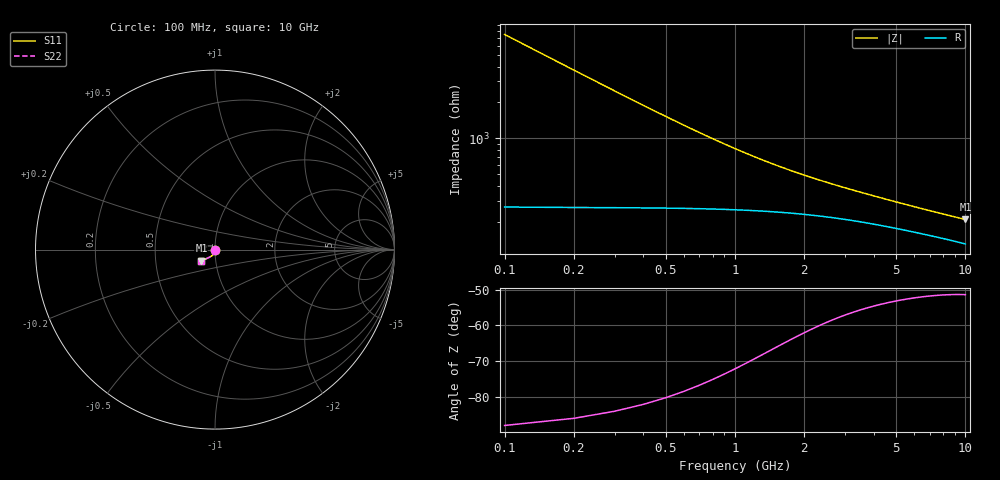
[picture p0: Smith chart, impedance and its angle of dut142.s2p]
! Touchstone file exported from HFSS 2024.1.0
!  File:  C:/UserFiles/LocalFiles/RDL_TSV_Batchsim/temp_TSV1_142_1778754721.aedt
!  Generated:  06:35:43 PM May 14, 2026
!  Design:  TSV1
!  Project:  temp_TSV1_142_1778754721
!  Setup:  Setup1
!  Solution:  Sweep
! Variables:
!  dtsv = 25.77um
!  hbump = 3um
!  htsv = 68.57um
!  lrdl = 252.1521522um
!  p = 40
!  p1 = 59.42um
!  t = 500um
!  trdl = 3um
!  wrdl = 24.89489489um
# GHz S MA R 50.000000
! Terminal data exported
! Port[1] = TSV22_T1
! Port[2] = TSV22_T2
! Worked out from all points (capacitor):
!   100 points, 100 MHz to 10 GHz, reference 50 ohm
!   read as one part in shunt: C = 214 fF near 100 MHz
!   lowest |Z| = 208 ohm at 10 GHz (marker M1)
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0.1  0.003104 -91.0  0.9998 -0.2  0.9998 -0.2  0.003104 -91.0
! Gamma 0 0 0 0
! Port Impedance 50 0 50 0
0.2  0.006185 -93.9  0.9994 -0.4  0.9994 -0.4  0.006185 -93.9
0.3  0.009224 -96.3  0.9988 -0.6  0.9988 -0.6  0.009224 -96.3
0.4  0.0122 -98.5  0.9979 -0.8  0.9979 -0.8  0.0122 -98.5
0.5  0.0151 -100.7  0.9969 -1.0  0.9969 -1.0  0.0151 -100.7
0.6  0.01791 -102.7  0.9957 -1.2  0.9957 -1.2  0.01791 -102.7
0.7  0.02062 -104.7  0.9944 -1.3  0.9944 -1.3  0.02062 -104.7
0.8  0.02322 -106.6  0.993 -1.5  0.993 -1.5  0.02322 -106.6
0.9  0.0257 -108.4  0.9915 -1.6  0.9915 -1.6  0.0257 -108.4
1.1  0.03033 -111.7  0.9884 -1.9  0.9884 -1.9  0.03033 -111.7
1.4  0.03643 -116.0  0.9838 -2.2  0.9838 -2.2  0.03643 -116.0
1.6  0.04001 -118.4  0.9809 -2.4  0.9809 -2.4  0.04001 -118.4
1.8  0.04324 -120.6  0.9781 -2.6  0.9781 -2.6  0.04324 -120.6
2.1  0.04754 -123.2  0.9742 -2.8  0.9742 -2.8  0.04754 -123.2
2.5  0.0525 -126.1  0.9695 -3.1  0.9695 -3.1  0.0525 -126.1
2.9  0.05681 -128.3  0.9653 -3.3  0.9653 -3.3  0.05681 -128.3
3.4  0.06154 -130.4  0.9607 -3.6  0.9607 -3.6  0.06154 -130.4
4.2  0.06807 -133.0  0.9545 -3.9  0.9545 -3.9  0.06807 -133.0
5.1  0.07437 -135.0  0.9485 -4.3  0.9485 -4.3  0.07437 -135.0
6.7  0.08363 -137.5  0.9399 -5.0  0.9399 -5.0  0.08363 -137.5
8.4  0.0916 -139.3  0.9326 -5.6  0.9326 -5.6  0.0916 -139.3
10  0.0979 -140.4  0.9271 -6.1  0.9271 -6.1  0.0979 -140.4
